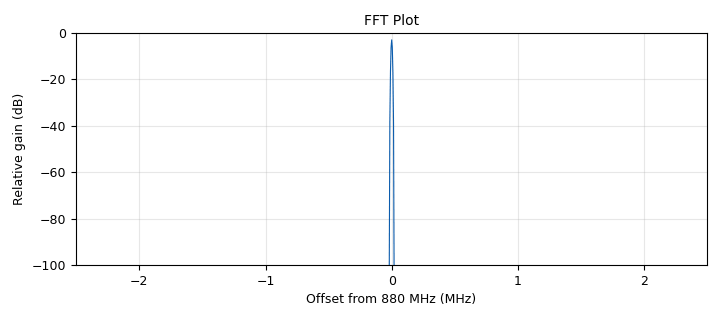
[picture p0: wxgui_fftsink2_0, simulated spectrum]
<?xml version='1.0' encoding='utf-8'?>
<flow_graph>
<block>
<key>options</key>
<param><key>id</key><value>top_block</value></param>
<param><key>generate_options</key><value>wx_gui</value></param>
<param><key>category</key><value>Custom</value></param>
</block>
<block>
<key>variable</key>
<param><key>id</key><value>freq</value></param>
<param><key>value</key><value>880000000</value></param>
</block>
<block>
<key>variable</key>
<param><key>id</key><value>samp_rate</value></param>
<param><key>value</key><value>5000000</value></param>
</block>
<block>
<key>blocks_throttle</key>
<param><key>id</key><value>blocks_throttle_0</value></param>
<param><key>type</key><value>complex</value></param>
<param><key>samples_per_second</key><value>samp_rate</value></param>
</block>
<block>
<key>wxgui_fftsink2</key>
<param><key>id</key><value>wxgui_fftsink2_0</value></param>
<param><key>type</key><value>complex</value></param>
<param><key>title</key><value>FFT Plot</value></param>
<param><key>samp_rate</key><value>samp_rate</value></param>
<param><key>baseband_freq</key><value>freq</value></param>
<param><key>y_per_div</key><value>10</value></param>
<param><key>y_divs</key><value>10</value></param>
<param><key>ref_level</key><value>0</value></param>
<param><key>ref_scale</key><value>2.0</value></param>
<param><key>fft_size</key><value>1024</value></param>
<param><key>fft_rate</key><value>15</value></param>
<param><key>peak_hold</key><value>False</value></param>
<param><key>average</key><value>False</value></param>
<param><key>avg_alpha</key><value>0</value></param>
<param><key>win</key><value>None</value></param>
<param><key>freqvar</key><value>None</value></param>
</block>
<block>
<key>analog_sig_source_x</key>
<param><key>id</key><value>analog_sig_source_x_0</value></param>
<param><key>type</key><value>complex</value></param>
<param><key>samp_rate</key><value>samp_rate</value></param>
<param><key>waveform</key><value>analog.GR_SIN_WAVE</value></param>
<param><key>freq</key><value>freq</value></param>
<param><key>amp</key><value>1</value></param>
<param><key>offset</key><value>0</value></param>
</block>
<block>
<key>wxgui_fftsink2</key>
<param><key>id</key><value>wxgui_fftsink2_0_0</value></param>
<param><key>_enabled</key><value>False</value></param>
<param><key>type</key><value>complex</value></param>
<param><key>title</key><value>FFT Plot</value></param>
<param><key>samp_rate</key><value>samp_rate /2</value></param>
<param><key>baseband_freq</key><value>freq</value></param>
<param><key>y_per_div</key><value>10</value></param>
<param><key>y_divs</key><value>10</value></param>
<param><key>ref_level</key><value>0</value></param>
<param><key>ref_scale</key><value>2.0</value></param>
<param><key>fft_size</key><value>1024</value></param>
<param><key>fft_rate</key><value>15</value></param>
<param><key>peak_hold</key><value>False</value></param>
<param><key>average</key><value>False</value></param>
<param><key>avg_alpha</key><value>0</value></param>
<param><key>win</key><value>None</value></param>
<param><key>freqvar</key><value>None</value></param>
</block>
<block>
<key>blocks_throttle</key>
<param><key>id</key><value>blocks_throttle_0_0</value></param>
<param><key>_enabled</key><value>False</value></param>
<param><key>type</key><value>complex</value></param>
<param><key>samples_per_second</key><value>samp_rate</value></param>
</block>
<block>
<key>uhd_usrp_source</key>
<param><key>id</key><value>uhd_usrp_source_0</value></param>
<param><key>_enabled</key><value>False</value></param>
<param><key>type</key><value>fc32</value></param>
<param><key>dev_args</key><value>""</value></param>
<param><key>sync</key><value></value></param>
<param><key>clock_rate</key><value>0.0</value></param>
<param><key>samp_rate</key><value>samp_rate</value></param>
<param><key>center_freq0</key><value>freq</value></param>
<param><key>gain0</key><value>0</value></param>
<param><key>ant0</key><value></value></param>
</block>
<block>
<key>uhd_usrp_sink</key>
<param><key>id</key><value>uhd_usrp_sink_0</value></param>
<param><key>type</key><value>fc32</value></param>
<param><key>dev_args</key><value>""</value></param>
<param><key>sync</key><value></value></param>
<param><key>clock_rate</key><value>0.0</value></param>
<param><key>samp_rate</key><value>samp_rate</value></param>
<param><key>center_freq0</key><value>freq</value></param>
<param><key>gain0</key><value>0</value></param>
<param><key>ant0</key><value></value></param>
<param><key>len_tag_name</key><value></value></param>
</block>
<connection><source_block_id>uhd_usrp_source_0</source_block_id><sink_block_id>blocks_throttle_0_0</sink_block_id><source_key>0</source_key><sink_key>0</sink_key></connection>
<connection><source_block_id>analog_sig_source_x_0</source_block_id><sink_block_id>blocks_throttle_0</sink_block_id><source_key>0</source_key><sink_key>0</sink_key></connection>
<connection><source_block_id>blocks_throttle_0</source_block_id><sink_block_id>uhd_usrp_sink_0</sink_block_id><source_key>0</source_key><sink_key>0</sink_key></connection>
<connection><source_block_id>blocks_throttle_0</source_block_id><sink_block_id>wxgui_fftsink2_0</sink_block_id><source_key>0</source_key><sink_key>0</sink_key></connection>
<connection><source_block_id>blocks_throttle_0_0</source_block_id><sink_block_id>wxgui_fftsink2_0_0</sink_block_id><source_key>0</source_key><sink_key>0</sink_key></connection>
</flow_graph>
